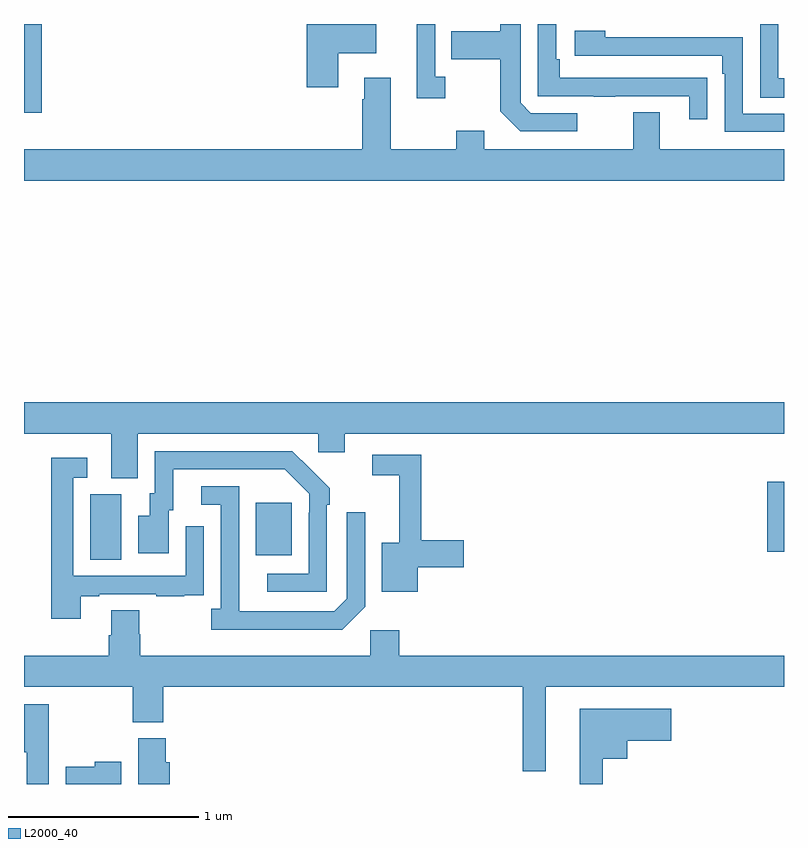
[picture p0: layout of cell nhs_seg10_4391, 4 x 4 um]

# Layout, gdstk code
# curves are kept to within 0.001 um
import gdstk
lib = gdstk.Library(unit=1e-6, precision=1e-09)
def R(c, l, rs):  # rectangles x0, y0, x1, y1
    for r in rs: c.add(gdstk.rectangle(r[:2], r[2:], *l))
def P(c, l, *ps):  # polygons
    for p in ps: c.add(gdstk.Polygon(p, *l))
L2000_40 = (2000, 40)

nhs_seg10_4391 = lib.new_cell('nhs_seg10_4391')
R(nhs_seg10_4391, L2000_40, [(359.348,1271.68,359.512,1272.024), (360.221,1271.705,360.409,1271.98), (362.912,1271.723,363,1272.091), (359,1274.034,359.093,1274.5)])
P(nhs_seg10_4391, L2000_40, [(361.216,1274.222),(361.164,1274.222),(361.164,1274.5),(361.067,1274.5),(361.067,1274.109),(361.216,1274.109)],
  [(363,1274.214),(362.97,1274.214),(362.97,1274.5),(362.874,1274.5),(362.874,1274.113),(363,1274.113)],
  [(361.912,1274.031),(361.668,1274.031),(361.614,1274.085),(361.614,1274.5),(361.506,1274.5),(361.506,1274.461),(361.249,1274.461),(361.249,1274.314),(361.506,1274.314),(361.506,1274.041),(361.611,1273.935),(361.912,1273.935)],
  [(362.597,1274.216),(362.495,1274.216),(362.495,1274.217),(361.82,1274.217),(361.82,1274.314),(361.8,1274.314),(361.8,1274.5),(361.704,1274.5),(361.704,1274.121),(361.999,1274.121),(361.999,1274.116),(362.111,1274.116),(362.111,1274.121),(362.501,1274.121),(362.501,1273.998),(362.597,1273.998)],
  [(360.655,1274.345),(360.853,1274.345),(360.853,1274.5),(360.488,1274.5),(360.488,1274.166),(360.655,1274.166)],
  [(363,1274.028),(362.784,1274.028),(362.784,1274.43),(362.06,1274.43),(362.06,1274.464),(361.899,1274.464),(361.899,1274.334),(362.675,1274.334),(362.675,1274.237),(362.688,1274.237),(362.688,1273.932),(363,1273.932)],
  [(363,1273.84),(362.347,1273.84),(362.347,1274.035),(362.207,1274.035),(362.207,1273.84),(361.423,1273.84),(361.423,1273.939),(361.276,1273.939),(361.276,1273.84),(360.931,1273.84),(360.931,1274.218),(360.791,1274.218),(360.791,1274.105),(360.779,1274.105),(360.779,1273.84),(359,1273.84),(359,1273.676),(363,1273.676)],
  [(359.599,1272.344),(360.549,1272.344),(360.549,1272.246),(360.688,1272.246),(360.688,1272.344),(363,1272.344),(363,1272.508),(359,1272.508),(359,1272.344),(359.459,1272.344),(359.459,1272.109),(359.599,1272.109)],
  [(360.594,1271.969),(360.609,1271.969),(360.609,1272.057),(360.412,1272.252),(359.688,1272.252),(359.688,1272.03),(359.663,1272.03),(359.663,1271.911),(359.6,1271.911),(359.6,1271.715),(359.761,1271.715),(359.761,1271.94),(359.785,1271.94),(359.785,1272.156),(360.373,1272.156),(360.501,1272.027),(360.501,1271.927),(360.498,1271.927),(360.498,1271.607),(360.279,1271.607),(360.279,1271.511),(360.594,1271.511)],
  [(361.072,1271.641),(361.315,1271.641),(361.315,1271.783),(361.091,1271.783),(361.091,1272.234),(360.834,1272.234),(360.834,1272.126),(360.974,1272.126),(360.974,1271.77),(360.884,1271.77),(360.884,1271.513),(361.072,1271.513)],
  [(359.299,1271.487),(359.395,1271.487),(359.395,1271.499),(359.695,1271.499),(359.695,1271.487),(359.843,1271.487),(359.843,1271.493),(359.945,1271.493),(359.945,1271.602),(359.946,1271.602),(359.946,1271.857),(359.85,1271.857),(359.85,1271.595),(359.259,1271.595),(359.259,1272.111),(359.332,1272.111),(359.332,1272.217),(359.143,1272.217),(359.143,1271.37),(359.299,1271.37)],
  [(360.795,1271.433),(360.795,1271.929),(360.699,1271.929),(360.699,1271.475),(360.633,1271.409),(360.133,1271.409),(360.132,1272.066),(359.934,1272.066),(359.934,1271.97),(360.036,1271.97),(360.036,1271.422),(359.985,1271.422),(359.985,1271.312),(360.674,1271.312)],
  [(361.747,1271.012),(363,1271.012),(363,1271.176),(360.974,1271.176),(360.974,1271.308),(360.822,1271.308),(360.822,1271.176),(359.612,1271.176),(359.612,1271.289),(359.607,1271.289),(359.607,1271.414),(359.459,1271.414),(359.459,1271.282),(359.447,1271.282),(359.447,1271.176),(359,1271.176),(359,1271.012),(359.572,1271.012),(359.572,1270.825),(359.732,1270.825),(359.732,1271.012),(361.626,1271.012),(361.626,1270.568),(361.747,1270.568)],
  [(359.131,1270.921),(359,1270.921),(359,1270.667),(359.015,1270.667),(359.015,1270.5),(359.131,1270.5)],
  [(362.047,1270.634),(362.176,1270.634),(362.176,1270.727),(362.407,1270.727),(362.407,1270.897),(361.925,1270.897),(361.925,1270.5),(362.047,1270.5)],
  [(359.768,1270.614),(359.747,1270.614),(359.747,1270.74),(359.6,1270.74),(359.6,1270.5),(359.768,1270.5)],
  [(359.512,1270.618),(359.373,1270.618),(359.373,1270.591),(359.219,1270.591),(359.219,1270.5),(359.512,1270.5)])

lib.write_gds('nhs_seg10_4391.gds')
